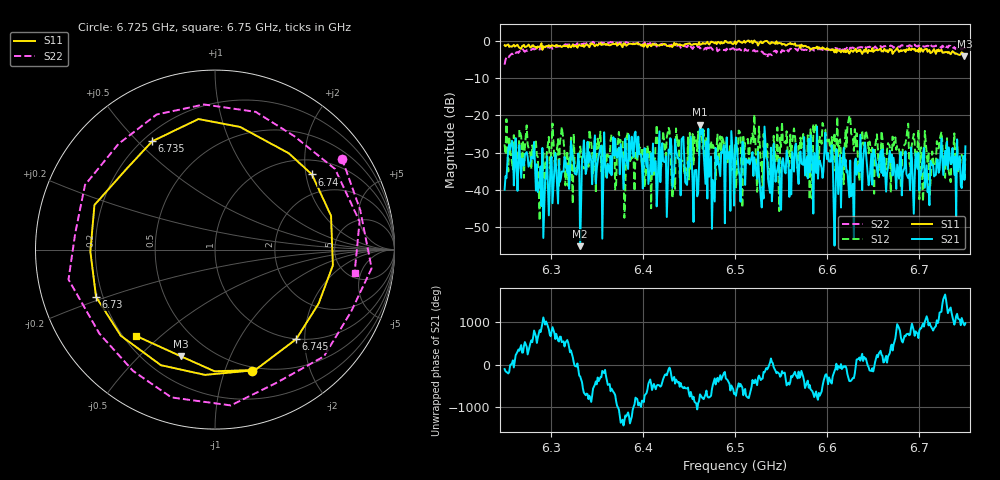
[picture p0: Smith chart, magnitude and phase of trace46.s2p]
# Hz S RI R 50
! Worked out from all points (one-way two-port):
!   401 points, 6.25 GHz to 6.75 GHz, reference 50 ohm
!   highest |S21| = -22.44 dB at 6.462 GHz (marker M1); lowest = -55.2 dB at 6.332 GHz (marker M2)
!   lowest |S11| = -4.1 dB at 6.749 GHz (marker M3), VSWR 4.32, Z = 17.3 - j33.7 ohm
!   |S11| at or under -10 dB: nowhere
!   |S22| runs from -6.3 to -0.2 dB; largest |S21 - S12| = 0.13
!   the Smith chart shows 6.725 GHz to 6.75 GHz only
!   S11 on the Smith chart (normalised r, x): 6.725 GHz: 0.46, -1.24; 6.73 GHz: 0.17, -0.19; 6.735 GHz: 0.23, +0.55; 6.74 GHz: 1.38, +2.16; 6.745 GHz: 1.00, -1.82; 6.75 GHz: 0.25, -0.41
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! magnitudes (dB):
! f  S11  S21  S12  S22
! 6.25 GHz  -1.1  -40.0  -27.8  -6.3
! 6.256 GHz  -1.4  -29.3  -29.2  -3.8
! 6.295 GHz  -1.3  -37.0  -31.7  -1.5
! 6.332 GHz  -1.2  -55.2  -28.4  -1.0
! 6.334 GHz  -1.3  -32.3  -31.7  -0.7
! 6.418 GHz  -1.2  -24.3  -26.7  -1.1
! 6.458 GHz  -0.7  -34.7  -26.9  -1.6
! 6.462 GHz  -1.0  -22.4  -22.9  -2.0
! 6.475 GHz  -0.2  -50.5  -29.3  -2.1
! 6.5 GHz  -0.1  -32.0  -28.0  -2.5
! 6.52 GHz  -0.2  -36.3  -27.4  -2.6
! 6.539 GHz  -0.5  -28.7  -33.2  -3.6
! 6.554 GHz  -0.8  -35.2  -27.1  -2.7
! 6.584 GHz  -1.9  -33.7  -42.5  -2.3
! 6.668 GHz  -2.1  -29.4  -28.3  -1.3
! 6.725 GHz  -3.0  -31.6  -27.1  -1.2
! 6.73 GHz  -2.9  -27.0  -26.1  -1.4
! 6.735 GHz  -3.1  -32.7  -31.0  -1.8
! 6.74 GHz  -3.3  -47.1  -35.8  -1.8
! 6.745 GHz  -3.4  -38.8  -31.9  -1.9
! 6.749 GHz  -4.1  -37.3  -36.7  -1.7
! 6.75 GHz  -3.7  -28.3  -31.6  -2.1
